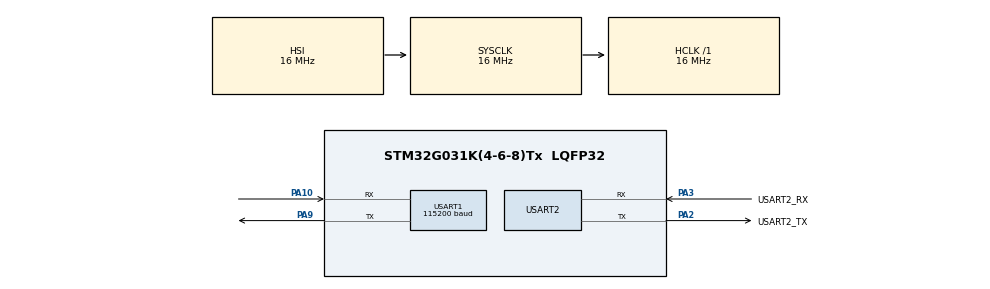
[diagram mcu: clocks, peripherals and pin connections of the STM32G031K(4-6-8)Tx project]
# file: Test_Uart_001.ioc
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Mcu.Family=STM32G0
Mcu.Name=STM32G031K(4-6-8)Tx
Mcu.Package=LQFP32
PA10.Mode=Asynchronous
PA10.Signal=USART1_RX
PA13.GPIO_Label=SWDIO
PA13.Mode=Serial_Wire
PA13.Signal=SYS_SWDIO
PA14-BOOT0.GPIO_Label=SWCLK
PA14-BOOT0.Mode=Serial_Wire
PA14-BOOT0.Signal=SYS_SWCLK
PA2.GPIO_Label=USART2_TX
PA2.GPIO_PuPd=GPIO_PULLUP
PA2.Mode=Asynchronous
PA2.Signal=USART2_TX
PA3.GPIO_Label=USART2_RX
PA3.GPIO_PuPd=GPIO_PULLUP
PA3.Mode=Asynchronous
PA3.Signal=USART2_RX
PA9.Mode=Asynchronous
PA9.Signal=USART1_TX
ProjectManager.HeapSize=0x200
ProjectManager.StackSize=0x400
ProjectManager.TargetToolchain=STM32CubeIDE
RCC.AHBFreq_Value=16000000
RCC.CortexFreq_Value=16000000
RCC.EXTERNAL_CLOCK_VALUE=12288000
RCC.HCLKFreq_Value=16000000
RCC.HSE_VALUE=8000000
RCC.HSI_VALUE=16000000
RCC.LSE_VALUE=32768
RCC.SYSCLKFreq_VALUE=16000000
RCC.VCOOutputFreq_Value=128000000
USART1.BaudRate=115200
USART1.VirtualMode-Asynchronous=VM_ASYNC
USART2.VirtualMode-Asynchronous=VM_ASYNC
board=custom

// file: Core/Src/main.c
/*
UART int
Receive FIFO not empty
Receiver timeout
*/

/* USER CODE BEGIN Header */
/**
  ******************************************************************************
  * @file           : main.c
  * @brief          : Main program body
  ******************************************************************************
  * @attention
  *
  * Copyright (c) 2022 STMicroelectronics.
  * All rights reserved.
  *
  * This software is licensed under terms that can be found in the LICENSE file
  * in the root directory of this software component.
  * If no LICENSE file comes with this software, it is provided AS-IS.
  *
  ******************************************************************************
  */
/* USER CODE END Header */
#include "main.h"

/* USER CODE BEGIN Includes */
#include<stdio.h>
#include<string.h>
/* USER CODE END Includes */

/* USER CODE BEGIN PTD */
#define UART_RX_TIMEOUT 1000
#define UART_TX_TIMEOUT 100
/* USER CODE END PTD */

UART_HandleTypeDef huart1;
UART_HandleTypeDef huart2;

/* USER CODE BEGIN PV */
HAL_StatusTypeDef uart_status   = HAL_OK ;
char        s_start[]           = "START\n" ;
uint8_t     i                   = 33 ;
uint8_t     j[1]                = { 33 } ;
char        rcv[1]              = { 0 } ;
/* USER CODE END PV */

void SystemClock_Config(void);
static void MX_GPIO_Init(void);
static void MX_USART2_UART_Init(void);
static void MX_USART1_UART_Init(void);

int main(void)
{

  /* MCU Configuration--------------------------------------------------------*/

  /* Reset of all peripherals, Initializes the Flash interface and the Systick. */
  HAL_Init();

  /* Configure the system clock */
  SystemClock_Config();

  /* Initialize all configured peripherals */
  MX_GPIO_Init();
  MX_USART2_UART_Init();
  MX_USART1_UART_Init();
  /* USER CODE BEGIN 2 */
  uart_status = HAL_UART_Transmit ( &huart2 , (const uint8_t *) s_start , strlen ( s_start ) , UART_TX_TIMEOUT ) ;
  if ( uart_status != HAL_OK )
  {
      Error_Handler () ;
  }
  uart_status = HAL_UART_Transmit ( &huart1 , (const uint8_t *) s_start , strlen( s_start ) , UART_TX_TIMEOUT ) ;
  if ( uart_status != HAL_OK )
  {
      Error_Handler () ;
  }
  /* USER CODE END 2 */

  /* Infinite loop */
  /* USER CODE BEGIN WHILE */
  while (1)
  {
      if ( HAL_UART_Transmit ( &huart2 , (const uint8_t *) &i , sizeof ( i ) , UART_TX_TIMEOUT ) != HAL_OK )
      {
          Error_Handler () ;
      }
      i++ ;
      if ( HAL_UART_Transmit ( &huart1 , (const uint8_t *) j , sizeof ( j ) , UART_TX_TIMEOUT ) != HAL_OK )
      {
          Error_Handler () ;
      }
      j[0]++ ;

      HAL_UART_Receive ( &huart1 , (uint8_t *) rcv , sizeof ( rcv ) , UART_RX_TIMEOUT ) ;
      if ( rcv[0] != 0 )
      {
          i = rcv[0] ;
          rcv[0] = 0 ;
      }

      HAL_Delay ( 1000 ) ;
    /* USER CODE END WHILE */

  }
}

void SystemClock_Config(void)
{
  RCC_OscInitTypeDef RCC_OscInitStruct = {0};
  RCC_ClkInitTypeDef RCC_ClkInitStruct = {0};

  /** Configure the main internal regulator output voltage
  */
  HAL_PWREx_ControlVoltageScaling(PWR_REGULATOR_VOLTAGE_SCALE1);

  /** Initializes the RCC Oscillators according to the specified parameters
  * in the RCC_OscInitTypeDef structure.
  */
  RCC_OscInitStruct.OscillatorType = RCC_OSCILLATORTYPE_HSI;
  RCC_OscInitStruct.HSIState = RCC_HSI_ON;
  RCC_OscInitStruct.HSIDiv = RCC_HSI_DIV1;
  RCC_OscInitStruct.HSICalibrationValue = RCC_HSICALIBRATION_DEFAULT;
  RCC_OscInitStruct.PLL.PLLState = RCC_PLL_NONE;
  if (HAL_RCC_OscConfig(&RCC_OscInitStruct) != HAL_OK)
  {
    Error_Handler();
  }

  /** Initializes the CPU, AHB and APB buses clocks
  */
  RCC_ClkInitStruct.ClockType = RCC_CLOCKTYPE_HCLK|RCC_CLOCKTYPE_SYSCLK
                              |RCC_CLOCKTYPE_PCLK1;
  RCC_ClkInitStruct.SYSCLKSource = RCC_SYSCLKSOURCE_HSI;
  RCC_ClkInitStruct.AHBCLKDivider = RCC_SYSCLK_DIV1;
  RCC_ClkInitStruct.APB1CLKDivider = RCC_HCLK_DIV1;

  if (HAL_RCC_ClockConfig(&RCC_ClkInitStruct, FLASH_LATENCY_0) != HAL_OK)
  {
    Error_Handler();
  }
}

static void MX_USART1_UART_Init(void)
{

  huart1.Instance = USART1;
  huart1.Init.BaudRate = 115200;
  huart1.Init.WordLength = UART_WORDLENGTH_8B;
  huart1.Init.StopBits = UART_STOPBITS_1;
  huart1.Init.Parity = UART_PARITY_NONE;
  huart1.Init.Mode = UART_MODE_TX_RX;
  huart1.Init.HwFlowCtl = UART_HWCONTROL_NONE;
  huart1.Init.OverSampling = UART_OVERSAMPLING_16;
  huart1.Init.OneBitSampling = UART_ONE_BIT_SAMPLE_DISABLE;
  huart1.Init.ClockPrescaler = UART_PRESCALER_DIV1;
  huart1.AdvancedInit.AdvFeatureInit = UART_ADVFEATURE_NO_INIT;
  if (HAL_UART_Init(&huart1) != HAL_OK)
  {
    Error_Handler();
  }
  if (HAL_UARTEx_SetTxFifoThreshold(&huart1, UART_TXFIFO_THRESHOLD_1_8) != HAL_OK)
  {
    Error_Handler();
  }
  if (HAL_UARTEx_SetRxFifoThreshold(&huart1, UART_RXFIFO_THRESHOLD_1_8) != HAL_OK)
  {
    Error_Handler();
  }
  if (HAL_UARTEx_DisableFifoMode(&huart1) != HAL_OK)
  {
    Error_Handler();
  }

}

static void MX_USART2_UART_Init(void)
{

  huart2.Instance = USART2;
  huart2.Init.BaudRate = 115200;
  huart2.Init.WordLength = UART_WORDLENGTH_8B;
  huart2.Init.StopBits = UART_STOPBITS_1;
  huart2.Init.Parity = UART_PARITY_NONE;
  huart2.Init.Mode = UART_MODE_TX_RX;
  huart2.Init.HwFlowCtl = UART_HWCONTROL_NONE;
  huart2.Init.OverSampling = UART_OVERSAMPLING_16;
  huart2.Init.OneBitSampling = UART_ONE_BIT_SAMPLE_DISABLE;
  huart2.Init.ClockPrescaler = UART_PRESCALER_DIV1;
  huart2.AdvancedInit.AdvFeatureInit = UART_ADVFEATURE_NO_INIT;
  if (HAL_UART_Init(&huart2) != HAL_OK)
  {
    Error_Handler();
  }

}

static void MX_GPIO_Init(void)
{

  /* GPIO Ports Clock Enable */
  __HAL_RCC_GPIOA_CLK_ENABLE();

}

void Error_Handler(void)
{
  __disable_irq();
  while (1)
  {
  }
}
